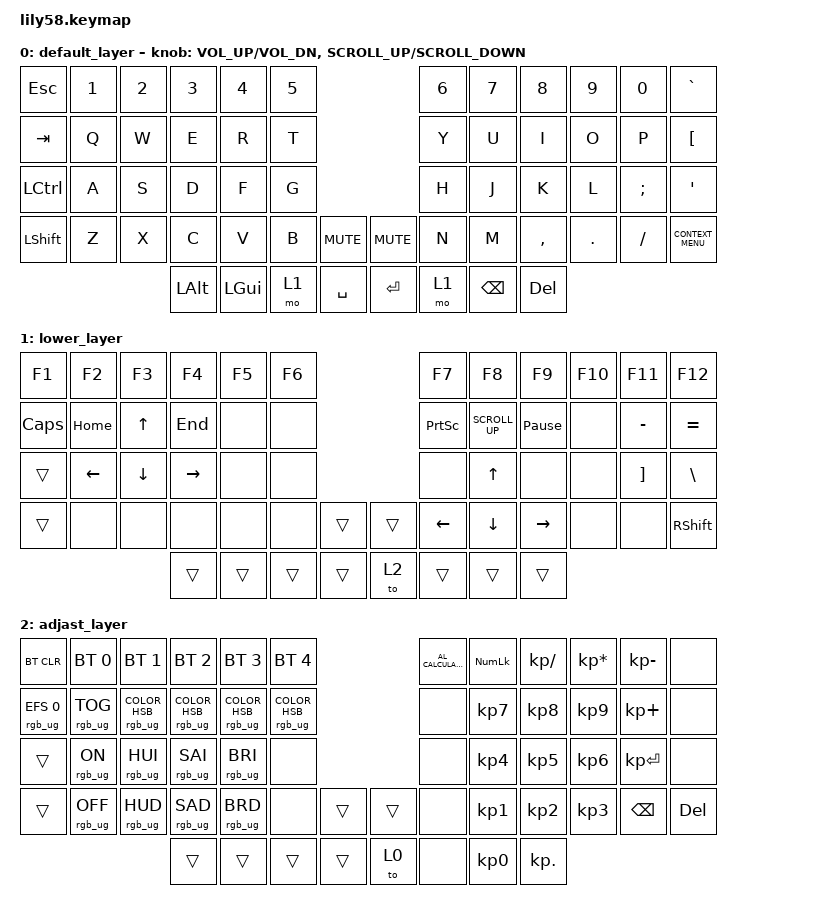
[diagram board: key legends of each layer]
/*
 * Copyright (c) 2020 The ZMK Contributors
 *
 * SPDX-License-Identifier: MIT
 */

#include <behaviors.dtsi>
#include <dt-bindings/zmk/bt.h>
#include <dt-bindings/zmk/keys.h>
#include <dt-bindings/zmk/rgb.h>

/ {
    // Activate ADJUST layer by pressing raise and lower

    conditional_layers {
        compatible = "zmk,conditional-layers";

        adjust_layer {
            if-layers = <1 2>;
            then-layer = <2>;
        };
    };

    keymap {
        compatible = "zmk,keymap";

        default_layer {
            // ------------------------------------------------------------------------------------------------------------
            // |  ESC  |  1  |  2  |  3   |  4   |  5   |                   |  6   |  7    |  8    |  9   |   0   |   `   |
            // |  TAB  |  Q  |  W  |  E   |  R   |  T   |                   |  Y   |  U    |  I    |  O   |   P   |   -   |
            // |  CTRL |  A  |  S  |  D   |  F   |  G   |                   |  H   |  J    |  K    |  L   |   ;   |   '   |
            // | SHIFT |  Z  |  X  |  C   |  V   |  B   |  MUTE  |  |RGB_TOG|  N   |  M    |  ,    |  .   |   /   | SHIFT |
            //                     | ALT  | GUI  | LOWER|  SPACE |  | ENTER | RAISE| BSPC  | GUI   |

            bindings = <
&kp ESC    &kp N1  &kp N2  &kp N3    &kp N4    &kp N5                            &kp N6  &kp N7         &kp N8      &kp N9   &kp N0    &kp GRAVE
&kp TAB    &kp Q   &kp W   &kp E     &kp R     &kp T                             &kp Y   &kp U          &kp I       &kp O    &kp P     &kp LEFT_BRACKET
&kp LCTRL  &kp A   &kp S   &kp D     &kp F     &kp G                             &kp H   &kp J          &kp K       &kp L    &kp SEMI  &kp SQT
&kp LSHFT  &kp Z   &kp X   &kp C     &kp V     &kp B   &kp C_MUTE    &kp C_MUTE  &kp N   &kp M          &kp COMMA   &kp DOT  &kp FSLH  &kp K_CONTEXT_MENU
                           &kp LALT  &kp LGUI  &mo 1   &kp SPACE     &kp RET     &mo 1   &kp BACKSPACE  &kp DELETE
            >;

            sensor-bindings =
                <&inc_dec_kp C_VOL_UP C_VOL_DN>,
                <&inc_dec_kp K_SCROLL_UP K_SCROLL_DOWN>;
        };

        lower_layer {
            // ------------------------------------------------------------------------------------------------------------
            // | BTCLR | BT1 | BT2 |  BT3 |  BT4 |  BT5 |                   |      |       |       |      |       |       |
            // |  F1   |  F2 |  F3 |  F4  |  F5  |  F6  |                   |  F7  |  F8   |  F9   |  F10 |  F11  |  F12  |
            // |   `   |  !  |  @  |  #   |  $   |  %   |                   |  ^   |  &    |  *    |  (   |   )   |   ~   |
            // |EXTPWR |     |     |      |      |      |        |  |       |      |  _    |  +    |  {   |   }   |  "|"  |
            //                     |      |      |      |        |  |       |      |       |       |

            bindings = <
&kp F1        &kp F2          &kp F3          &kp F4           &kp F5  &kp F6                    &kp F7           &kp F8           &kp F9           &kp F10  &kp F11            &kp F12
&kp CAPSLOCK  &kp HOME        &kp UP_ARROW    &kp END          &none   &none                     &kp PRINTSCREEN  &kp K_SCROLL_UP  &kp PAUSE_BREAK  &none    &kp MINUS          &kp EQUAL
&trans        &kp LEFT_ARROW  &kp DOWN_ARROW  &kp RIGHT_ARROW  &none   &none                     &none            &kp UP_ARROW     &none            &none    &kp RIGHT_BRACKET  &kp BACKSLASH
&trans        &none           &none           &none            &none   &none   &trans    &trans  &kp LEFT_ARROW   &kp DOWN_ARROW   &kp RIGHT_ARROW  &none    &none              &kp RIGHT_SHIFT
                                              &trans           &trans  &trans  &trans    &to 2   &trans           &trans           &trans
            >;
        };

        adjast_layer {
            bindings = <
&bt BT_CLR  &bt BT_SEL 0     &bt BT_SEL 1                      &bt BT_SEL 2                      &bt BT_SEL 3                      &bt BT_SEL 4                                      &kp C_AL_CALCULATOR  &kp KP_NUMLOCK   &kp KP_DIVIDE    &kp KP_MULTIPLY  &kp KP_SUBTRACT  &none
&rgb_ug RGB_EFS_CMD 0  &rgb_ug RGB_TOG  &rgb_ug RGB_COLOR_HSB(126,47,35)  &rgb_ug RGB_COLOR_HSB(172,49,39)  &rgb_ug RGB_COLOR_HSB(25,100,50)  &rgb_ug RGB_COLOR_HSB(0,0,100)                    &none                &kp KP_NUMBER_7  &kp KP_NUMBER_8  &kp KP_NUMBER_9  &kp KP_PLUS      &none
&trans      &rgb_ug RGB_ON   &rgb_ug RGB_HUI                   &rgb_ug RGB_SAI                   &rgb_ug RGB_BRI                   &none                                             &none                &kp KP_NUMBER_4  &kp KP_NUMBER_5  &kp KP_NUMBER_6  &kp KP_ENTER     &none
&trans      &rgb_ug RGB_OFF  &rgb_ug RGB_HUD                   &rgb_ug RGB_SAD                   &rgb_ug RGB_BRD                   &none                           &trans    &trans  &none                &kp KP_NUMBER_1  &kp KP_NUMBER_2  &kp KP_NUMBER_3  &kp BACKSPACE    &kp DELETE
                                                               &trans                            &trans                            &trans                          &trans    &to 0   &none                &kp KP_NUMBER_0  &kp KP_DOT
            >;
        };
    };
};
